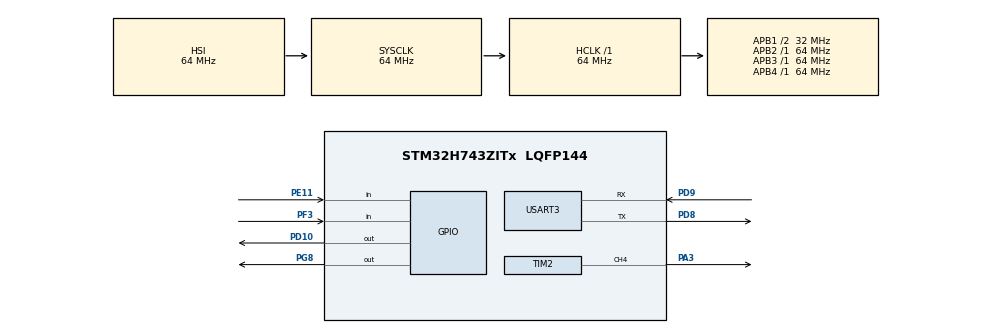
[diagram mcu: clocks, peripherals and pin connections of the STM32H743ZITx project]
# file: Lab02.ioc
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Mcu.Family=STM32H7
Mcu.Name=STM32H743ZITx
Mcu.Package=LQFP144
NVIC.PriorityGroup=NVIC_PRIORITYGROUP_4
NVIC.TIM2_IRQn=true\:0\:0\:false\:false\:true\:true\:true\:true
PA3.Signal=S_TIM2_CH4
PD10.Signal=GPIO_Output
PD8.Mode=Asynchronous
PD8.Signal=USART3_TX
PD9.Mode=Asynchronous
PD9.Signal=USART3_RX
PE11.GPIO_PuPd=GPIO_PULLDOWN
PE11.Signal=GPIO_Input
PF3.GPIO_PuPd=GPIO_PULLDOWN
PF3.Signal=GPIO_Input
PG8.PinState=GPIO_PIN_RESET
PG8.Signal=GPIO_Output
ProjectManager.HeapSize=0x200
ProjectManager.StackSize=0x400
ProjectManager.TargetToolchain=STM32CubeIDE
RCC.ADCFreq_Value=129000000
RCC.APB1Freq_Value=32000000
RCC.APB2Freq_Value=64000000
RCC.APB3Freq_Value=64000000
RCC.APB4Freq_Value=64000000
RCC.CortexFreq_Value=64000000
RCC.D2PPRE1=RCC_APB1_DIV2
RCC.HCLKFreq_Value=64000000
RCC.SYSCLKFreq_VALUE=64000000
RCC.USBFreq_Value=129000000
SH.S_TIM2_CH4.0=TIM2_CH4,PWM Generation4 CH4
TIM2.AutoReloadPreload=TIM_AUTORELOAD_PRELOAD_DISABLE
TIM2.Channel-PWM\ Generation4\ CH4=TIM_CHANNEL_4
TIM2.Period=6400 -1
TIM2.Prescaler=0
USART3.VirtualMode-Asynchronous=VM_ASYNC
VP_TIM2_VS_ClockSourceINT.Mode=Internal
board=custom

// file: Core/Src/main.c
/* USER CODE BEGIN Header */
/**
  ******************************************************************************
  * @file           : main.c
  * @brief          : Main program body
  ******************************************************************************
  * @attention
  *
  * Copyright (c) 2024 STMicroelectronics.
  * All rights reserved.
  *
  * This software is licensed under terms that can be found in the LICENSE file
  * in the root directory of this software component.
  * If no LICENSE file comes with this software, it is provided AS-IS.
  *
  ******************************************************************************
  */
/* USER CODE END Header */
#include "main.h"

/* USER CODE BEGIN Includes */
#include "step_motor.h"
#include <math.h>
#include <stdio.h>
#include <stdlib.h>
#include <stdarg.h>
/* USER CODE END Includes */

TIM_HandleTypeDef htim2;

UART_HandleTypeDef huart3;

void SystemClock_Config(void);
static void MX_GPIO_Init(void);
static void MX_TIM2_Init(void);
static void MX_USART3_UART_Init(void);

/* USER CODE BEGIN 0 */
// Used for calibrate
uint32_t total_pulses = 0;   // Record the total pulses needed in half loop
uint32_t pulseCount = 0;	// Record the count of current pulses
uint8_t loop_num = 0; 	// Record the current loop

// Used for accelaration
uint32_t startTime; // To keep track of when acceleration started
uint32_t lastTime;
uint32_t constantT = 75;
uint32_t R0 = 64e6 / 60000;
uint32_t Rs = 64e6 / 10000;
uint32_t curR = 64e6 / 60000;

//----------------
//Support code (copy&paste):
void mywrite (unsigned char *st, int nby)
{
	if (nby) HAL_UART_Transmit(&huart3,st,nby,10);
}

void myprintf (const char *fmt, ...)
{
	va_list arglist;
	int nby;
	unsigned char st[256];
	if (!fmt) return;
	va_start(arglist,fmt);
	nby = vsnprintf((char *)st,sizeof(st),fmt,arglist);
	va_end(arglist);
	if (nby < 0) { nby = sizeof(st)-1; } //print truncated string in case too long
	if (nby) HAL_UART_Transmit(&huart3,st,nby,10);
}

void setToCenter(){
	if(loop_num == 1){
	  pulseCount++;
	} else if(loop_num == 2){
		total_pulses--;
		if(total_pulses == 0){
			HAL_TIM_PWM_Stop(&htim2, TIM_CHANNEL_4); // Stop PWM
			HAL_GPIO_WritePin(GPIOG, GPIO_PIN_8, GPIO_PIN_SET);
		}
	}
}

void HAL_TIM_PWM_PulseFinishedCallback (TIM_HandleTypeDef *htim){
	 if (htim == &htim2)
	 {
		 // The following function is used for calibrate
		 // setToCenter();
		 uint32_t currentTime = HAL_GetTick();
		 uint32_t elapseTime = currentTime - lastTime;
		 if(curR < Rs){
			 curR = curR + ((Rs - R0) * elapseTime) / constantT;
			 uint32_t newPeriod = 64e6 / curR;
			 TIM2->ARR = newPeriod;
			 TIM2->CCR4 = newPeriod / 2;
		 }
		 lastTime = currentTime;
	 }
}

// This function will be responsible for starting the motor
//void MotorControl(uint8_t direction, uint16_t speed)
//{
//    // Set the motor direction pin
//    HAL_GPIO_WritePin(GPIOD, GPIO_PIN_10, direction);
//
//    // Set the motor speed by configuring the PWM timer
//    // You would need to write code to configure and start the timer with the given speed
//
//    // Example:
//    // TIM2->ARR = 65535 / speed;  // Calculate ARR value based on speed
//    // TIM2->CCR4 = TIM2->ARR / 2; // 50% duty cycle
//    // HAL_TIM_PWM_Start(&htim2, TIM_CHANNEL_4);
//}
/* USER CODE END 0 */

int main(void)
{

  /* MCU Configuration--------------------------------------------------------*/

  /* Reset of all peripherals, Initializes the Flash interface and the Systick. */
  HAL_Init();

  /* Configure the system clock */
  SystemClock_Config();

  /* Initialize all configured peripherals */
  MX_GPIO_Init();
  MX_TIM2_Init();
  MX_USART3_UART_Init();
  /* USER CODE BEGIN 2 */
  /*Configure GPIO pin Output Level */
  HAL_GPIO_WritePin(GPIOD, GPIO_PIN_10, GPIO_PIN_SET);

  // Maximum: 9000, minimum: 60000
   uint16_t period = 60000;
   TIM2->ARR = period; // first period
   TIM2->CCR4 = period / 2; // first duty cycle (50%)
   HAL_GPIO_WritePin(GPIOG, GPIO_PIN_8, GPIO_PIN_RESET);
   HAL_TIM_PWM_Start_IT(&htim2,TIM_CHANNEL_4);
  /* USER CODE END 2 */

  /* Infinite loop */
  /* USER CODE BEGIN WHILE */
  while (1)
  {
	  uint8_t leftState = HAL_GPIO_ReadPin(GPIOE, GPIO_PIN_11);
	  uint8_t rightState = HAL_GPIO_ReadPin(GPIOF, GPIO_PIN_3);

	  if(!leftState || !rightState){
		  // Increase the count of current loop
		  loop_num++;
		  if(loop_num == 2)	total_pulses = pulseCount / 2;
		  HAL_TIM_PWM_Stop(&htim2, TIM_CHANNEL_4); // Stop PWM

		  GPIO_PinState curDirection = HAL_GPIO_ReadPin(GPIOD, GPIO_PIN_10);
		  GPIO_PinState newDirection = (curDirection == GPIO_PIN_SET) ? GPIO_PIN_RESET : GPIO_PIN_SET;
		  HAL_GPIO_WritePin(GPIOD, GPIO_PIN_10, newDirection);
		  HAL_Delay(100);

		  HAL_GPIO_WritePin(GPIOG, GPIO_PIN_8, GPIO_PIN_RESET);
		  HAL_TIM_PWM_Start(&htim2, TIM_CHANNEL_4);

	  }
	  HAL_Delay(100);
	// myprintf("The first limit is %d %d\n\r", limit1State, limit2State);

	// HAL_Delay(500);

    /* USER CODE END WHILE */

  }
}

void SystemClock_Config(void)
{
  RCC_OscInitTypeDef RCC_OscInitStruct = {0};
  RCC_ClkInitTypeDef RCC_ClkInitStruct = {0};

  /** Supply configuration update enable
  */
  HAL_PWREx_ConfigSupply(PWR_LDO_SUPPLY);

  /** Configure the main internal regulator output voltage
  */
  __HAL_PWR_VOLTAGESCALING_CONFIG(PWR_REGULATOR_VOLTAGE_SCALE3);

  while(!__HAL_PWR_GET_FLAG(PWR_FLAG_VOSRDY)) {}

  /** Initializes the RCC Oscillators according to the specified parameters
  * in the RCC_OscInitTypeDef structure.
  */
  RCC_OscInitStruct.OscillatorType = RCC_OSCILLATORTYPE_HSI;
  RCC_OscInitStruct.HSIState = RCC_HSI_DIV1;
  RCC_OscInitStruct.HSICalibrationValue = RCC_HSICALIBRATION_DEFAULT;
  RCC_OscInitStruct.PLL.PLLState = RCC_PLL_NONE;
  if (HAL_RCC_OscConfig(&RCC_OscInitStruct) != HAL_OK)
  {
    Error_Handler();
  }

  /** Initializes the CPU, AHB and APB buses clocks
  */
  RCC_ClkInitStruct.ClockType = RCC_CLOCKTYPE_HCLK|RCC_CLOCKTYPE_SYSCLK
                              |RCC_CLOCKTYPE_PCLK1|RCC_CLOCKTYPE_PCLK2
                              |RCC_CLOCKTYPE_D3PCLK1|RCC_CLOCKTYPE_D1PCLK1;
  RCC_ClkInitStruct.SYSCLKSource = RCC_SYSCLKSOURCE_HSI;
  RCC_ClkInitStruct.SYSCLKDivider = RCC_SYSCLK_DIV1;
  RCC_ClkInitStruct.AHBCLKDivider = RCC_HCLK_DIV1;
  RCC_ClkInitStruct.APB3CLKDivider = RCC_APB3_DIV1;
  RCC_ClkInitStruct.APB1CLKDivider = RCC_APB1_DIV2;
  RCC_ClkInitStruct.APB2CLKDivider = RCC_APB2_DIV1;
  RCC_ClkInitStruct.APB4CLKDivider = RCC_APB4_DIV1;

  if (HAL_RCC_ClockConfig(&RCC_ClkInitStruct, FLASH_LATENCY_1) != HAL_OK)
  {
    Error_Handler();
  }
}

static void MX_TIM2_Init(void)
{

  TIM_ClockConfigTypeDef sClockSourceConfig = {0};
  TIM_MasterConfigTypeDef sMasterConfig = {0};
  TIM_OC_InitTypeDef sConfigOC = {0};

  htim2.Instance = TIM2;
  htim2.Init.Prescaler = 0;
  htim2.Init.CounterMode = TIM_COUNTERMODE_UP;
  htim2.Init.Period = 6400 -1;
  htim2.Init.ClockDivision = TIM_CLOCKDIVISION_DIV1;
  htim2.Init.AutoReloadPreload = TIM_AUTORELOAD_PRELOAD_DISABLE;
  if (HAL_TIM_Base_Init(&htim2) != HAL_OK)
  {
    Error_Handler();
  }
  sClockSourceConfig.ClockSource = TIM_CLOCKSOURCE_INTERNAL;
  if (HAL_TIM_ConfigClockSource(&htim2, &sClockSourceConfig) != HAL_OK)
  {
    Error_Handler();
  }
  if (HAL_TIM_PWM_Init(&htim2) != HAL_OK)
  {
    Error_Handler();
  }
  sMasterConfig.MasterOutputTrigger = TIM_TRGO_RESET;
  sMasterConfig.MasterSlaveMode = TIM_MASTERSLAVEMODE_DISABLE;
  if (HAL_TIMEx_MasterConfigSynchronization(&htim2, &sMasterConfig) != HAL_OK)
  {
    Error_Handler();
  }
  sConfigOC.OCMode = TIM_OCMODE_PWM1;
  sConfigOC.Pulse = 0;
  sConfigOC.OCPolarity = TIM_OCPOLARITY_HIGH;
  sConfigOC.OCFastMode = TIM_OCFAST_DISABLE;
  if (HAL_TIM_PWM_ConfigChannel(&htim2, &sConfigOC, TIM_CHANNEL_4) != HAL_OK)
  {
    Error_Handler();
  }
  HAL_TIM_MspPostInit(&htim2);

}

static void MX_USART3_UART_Init(void)
{

  huart3.Instance = USART3;
  huart3.Init.BaudRate = 115200;
  huart3.Init.WordLength = UART_WORDLENGTH_8B;
  huart3.Init.StopBits = UART_STOPBITS_1;
  huart3.Init.Parity = UART_PARITY_NONE;
  huart3.Init.Mode = UART_MODE_TX_RX;
  huart3.Init.HwFlowCtl = UART_HWCONTROL_NONE;
  huart3.Init.OverSampling = UART_OVERSAMPLING_16;
  huart3.Init.OneBitSampling = UART_ONE_BIT_SAMPLE_DISABLE;
  huart3.Init.ClockPrescaler = UART_PRESCALER_DIV1;
  huart3.AdvancedInit.AdvFeatureInit = UART_ADVFEATURE_NO_INIT;
  if (HAL_UART_Init(&huart3) != HAL_OK)
  {
    Error_Handler();
  }
  if (HAL_UARTEx_SetTxFifoThreshold(&huart3, UART_TXFIFO_THRESHOLD_1_8) != HAL_OK)
  {
    Error_Handler();
  }
  if (HAL_UARTEx_SetRxFifoThreshold(&huart3, UART_RXFIFO_THRESHOLD_1_8) != HAL_OK)
  {
    Error_Handler();
  }
  if (HAL_UARTEx_DisableFifoMode(&huart3) != HAL_OK)
  {
    Error_Handler();
  }

}

static void MX_GPIO_Init(void)
{
  GPIO_InitTypeDef GPIO_InitStruct = {0};

  /* GPIO Ports Clock Enable */
  __HAL_RCC_GPIOF_CLK_ENABLE();
  __HAL_RCC_GPIOA_CLK_ENABLE();
  __HAL_RCC_GPIOE_CLK_ENABLE();
  __HAL_RCC_GPIOD_CLK_ENABLE();
  __HAL_RCC_GPIOG_CLK_ENABLE();

  /*Configure GPIO pin Output Level */
  HAL_GPIO_WritePin(GPIOD, GPIO_PIN_10, GPIO_PIN_RESET);

  /*Configure GPIO pin Output Level */
  HAL_GPIO_WritePin(GPIOG, GPIO_PIN_8, GPIO_PIN_RESET);

  /*Configure GPIO pin : PF3 */
  GPIO_InitStruct.Pin = GPIO_PIN_3;
  GPIO_InitStruct.Mode = GPIO_MODE_INPUT;
  GPIO_InitStruct.Pull = GPIO_PULLDOWN;
  HAL_GPIO_Init(GPIOF, &GPIO_InitStruct);

  /*Configure GPIO pin : PE11 */
  GPIO_InitStruct.Pin = GPIO_PIN_11;
  GPIO_InitStruct.Mode = GPIO_MODE_INPUT;
  GPIO_InitStruct.Pull = GPIO_PULLDOWN;
  HAL_GPIO_Init(GPIOE, &GPIO_InitStruct);

  /*Configure GPIO pin : PD10 */
  GPIO_InitStruct.Pin = GPIO_PIN_10;
  GPIO_InitStruct.Mode = GPIO_MODE_OUTPUT_PP;
  GPIO_InitStruct.Pull = GPIO_NOPULL;
  GPIO_InitStruct.Speed = GPIO_SPEED_FREQ_LOW;
  HAL_GPIO_Init(GPIOD, &GPIO_InitStruct);

  /*Configure GPIO pin : PG8 */
  GPIO_InitStruct.Pin = GPIO_PIN_8;
  GPIO_InitStruct.Mode = GPIO_MODE_OUTPUT_PP;
  GPIO_InitStruct.Pull = GPIO_NOPULL;
  GPIO_InitStruct.Speed = GPIO_SPEED_FREQ_LOW;
  HAL_GPIO_Init(GPIOG, &GPIO_InitStruct);

}

void Error_Handler(void)
{
  __disable_irq();
  while (1)
  {
  }
}
